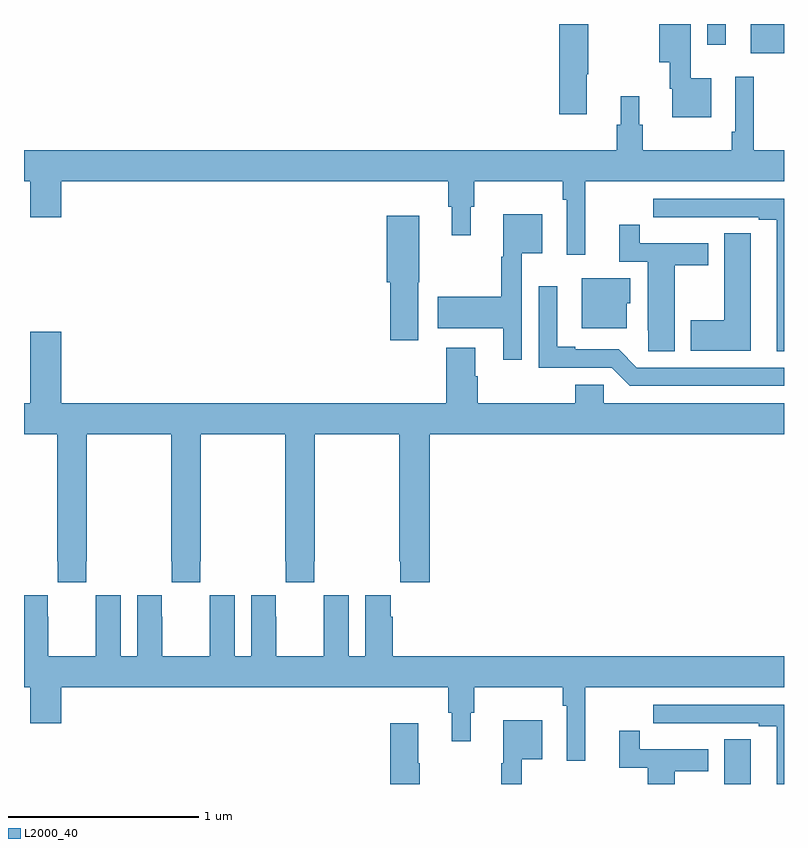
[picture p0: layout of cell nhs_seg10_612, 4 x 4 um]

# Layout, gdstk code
import gdstk
lib = gdstk.Library(unit=1e-6, precision=1e-09)
def R(c, l, rs):  # rectangles x0, y0, x1, y1
    for r in rs: c.add(gdstk.rectangle(r[:2], r[2:], *l))
def P(c, l, *ps):  # polygons
    for p in ps: c.add(gdstk.Polygon(p, *l))
L2000_40 = (2000, 40)

nhs_seg10_612 = lib.new_cell('nhs_seg10_612')
R(nhs_seg10_612, L2000_40, [(144.824,1278.347,145,1278.5), (144.597,1278.39,144.694,1278.5)])
P(nhs_seg10_612, L2000_40, [(144.616,1278.214),(144.51,1278.214),(144.51,1278.5),(144.343,1278.5),(144.343,1278.299),(144.399,1278.299),(144.399,1278.158),(144.411,1278.158),(144.411,1278.008),(144.616,1278.008)],
  [(143.962,1278.236),(143.97,1278.236),(143.97,1278.5),(143.816,1278.5),(143.816,1278.024),(143.962,1278.024)],
  [(143.954,1277.672),(145,1277.672),(145,1277.836),(144.842,1277.836),(144.842,1278.223),(144.744,1278.223),(144.744,1277.932),(144.724,1277.932),(144.724,1277.836),(144.257,1277.836),(144.257,1277.97),(144.238,1277.97),(144.238,1278.121),(144.14,1278.121),(144.14,1277.97),(144.121,1277.97),(144.121,1277.836),(141,1277.836),(141,1277.672),(141.032,1277.672),(141.032,1277.484),(141.196,1277.484),(141.196,1277.672),(143.233,1277.672),(143.233,1277.538),(143.252,1277.538),(143.252,1277.388),(143.35,1277.388),(143.35,1277.538),(143.369,1277.538),(143.369,1277.672),(143.836,1277.672),(143.836,1277.576),(143.856,1277.576),(143.856,1277.286),(143.954,1277.286)],
  [(145,1277.58),(144.312,1277.58),(144.312,1277.484),(144.424,1277.484),(144.424,1277.483),(144.59,1277.483),(144.59,1277.484),(144.866,1277.484),(144.866,1277.469),(144.962,1277.469),(144.962,1276.777),(145,1276.777)],
  [(143.619,1277.294),(143.728,1277.294),(143.728,1277.5),(143.522,1277.5),(143.522,1277.274),(143.511,1277.274),(143.511,1277.064),(143.178,1277.064),(143.178,1276.898),(143.522,1276.898),(143.522,1276.734),(143.619,1276.734)],
  [(143.074,1277.142),(143.08,1277.142),(143.08,1277.491),(142.91,1277.491),(142.91,1277.142),(142.928,1277.142),(142.928,1276.836),(143.074,1276.836)],
  [(144.424,1277.23),(144.601,1277.23),(144.601,1277.346),(144.242,1277.346),(144.242,1277.443),(144.134,1277.443),(144.134,1277.25),(144.284,1277.25),(144.284,1276.888),(144.285,1276.888),(144.285,1276.777),(144.424,1276.777)],
  [(144.826,1277.291),(144.825,1277.291),(144.825,1277.399),(144.686,1277.399),(144.686,1276.941),(144.509,1276.941),(144.509,1276.781),(144.826,1276.781)],
  [(144.172,1277.031),(144.19,1277.031),(144.19,1277.161),(143.936,1277.161),(143.936,1276.898),(144.172,1276.898)],
  [(145,1276.692),(144.225,1276.692),(144.129,1276.788),(143.902,1276.788),(143.902,1276.801),(143.806,1276.801),(143.806,1277.119),(143.709,1277.119),(143.709,1276.692),(144.093,1276.692),(144.189,1276.596),(145,1276.596)],
  [(141.327,1275.673),(141.33,1275.673),(141.33,1276.34),(141.775,1276.34),(141.775,1275.673),(141.777,1275.673),(141.777,1275.561),(141.927,1275.561),(141.927,1275.673),(141.93,1275.673),(141.93,1276.34),(142.375,1276.34),(142.375,1275.673),(142.377,1275.673),(142.377,1275.561),(142.527,1275.561),(142.527,1275.673),(142.53,1275.673),(142.53,1276.34),(142.975,1276.34),(142.975,1275.673),(142.981,1275.673),(142.981,1275.561),(143.135,1275.561),(143.135,1276.34),(145,1276.34),(145,1276.504),(144.051,1276.504),(144.051,1276.602),(143.9,1276.602),(143.9,1276.504),(143.387,1276.504),(143.387,1276.646),(143.374,1276.646),(143.374,1276.795),(143.222,1276.795),(143.222,1276.504),(141.196,1276.504),(141.196,1276.879),(141.032,1276.879),(141.032,1276.504),(141,1276.504),(141,1276.34),(141.175,1276.34),(141.175,1275.673),(141.177,1275.673),(141.177,1275.561),(141.327,1275.561)],
  [(143.954,1275.008),(145,1275.008),(145,1275.172),(142.94,1275.172),(142.94,1275.38),(142.93,1275.38),(142.93,1275.493),(142.796,1275.493),(142.796,1275.172),(142.708,1275.172),(142.708,1275.493),(142.578,1275.493),(142.578,1275.38),(142.577,1275.38),(142.577,1275.172),(142.327,1275.172),(142.327,1275.38),(142.326,1275.38),(142.326,1275.493),(142.196,1275.493),(142.196,1275.172),(142.108,1275.172),(142.108,1275.493),(141.978,1275.493),(141.978,1275.38),(141.977,1275.38),(141.977,1275.172),(141.727,1275.172),(141.727,1275.38),(141.726,1275.38),(141.726,1275.493),(141.596,1275.493),(141.596,1275.172),(141.508,1275.172),(141.508,1275.493),(141.378,1275.493),(141.378,1275.38),(141.377,1275.38),(141.377,1275.172),(141.127,1275.172),(141.127,1275.38),(141.126,1275.38),(141.126,1275.493),(141,1275.493),(141,1275.008),(141.032,1275.008),(141.032,1274.82),(141.196,1274.82),(141.196,1275.008),(143.233,1275.008),(143.233,1274.874),(143.252,1274.874),(143.252,1274.724),(143.35,1274.724),(143.35,1274.874),(143.369,1274.874),(143.369,1275.008),(143.836,1275.008),(143.836,1274.912),(143.856,1274.912),(143.856,1274.622),(143.954,1274.622)],
  [(145,1274.916),(144.312,1274.916),(144.312,1274.82),(144.424,1274.82),(144.424,1274.819),(144.59,1274.819),(144.59,1274.82),(144.866,1274.82),(144.866,1274.805),(144.962,1274.805),(144.962,1274.5),(145,1274.5)],
  [(143.619,1274.63),(143.728,1274.63),(143.728,1274.836),(143.522,1274.836),(143.522,1274.61),(143.511,1274.61),(143.511,1274.5),(143.619,1274.5)],
  [(143.082,1274.608),(143.074,1274.608),(143.074,1274.821),(142.928,1274.821),(142.928,1274.5),(143.082,1274.5)],
  [(144.424,1274.566),(144.601,1274.566),(144.601,1274.682),(144.242,1274.682),(144.242,1274.779),(144.134,1274.779),(144.134,1274.586),(144.284,1274.586),(144.284,1274.5),(144.424,1274.5)],
  [(144.826,1274.627),(144.825,1274.627),(144.825,1274.735),(144.686,1274.735),(144.686,1274.5),(144.826,1274.5)])

lib.write_gds('nhs_seg10_612.gds')
